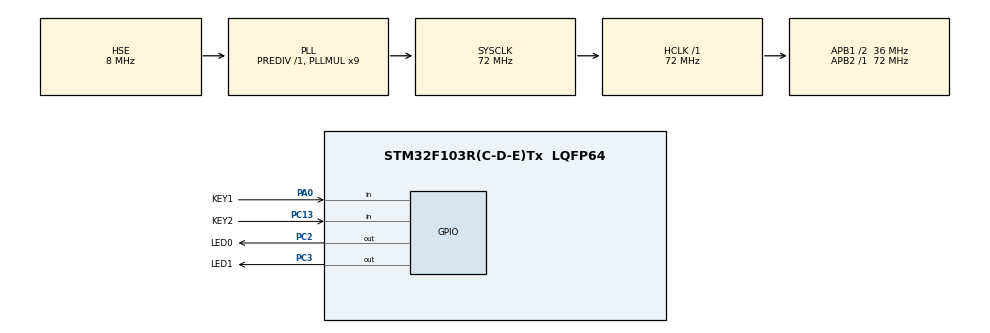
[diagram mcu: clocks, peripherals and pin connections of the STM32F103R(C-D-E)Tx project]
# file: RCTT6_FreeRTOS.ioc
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FREERTOS.Events01=KEYevent,Dynamic,NULL
FREERTOS.Tasks01=led1task,24,128,LED1_TASK,Default,NULL,Dynamic,NULL,NULL;led2task,8,128,LED2_TASK,Default,NULL,Dynamic,NULL,NULL;keytask,8,128,KEY_TASK,Default,NULL,Dynamic,NULL,NULL;flowtask,8,128,FLOW_TASK,Default,NULL,Dynamic,NULL,NULL
Mcu.Family=STM32F1
Mcu.Name=STM32F103R(C-D-E)Tx
Mcu.Package=LQFP64
NVIC.PriorityGroup=NVIC_PRIORITYGROUP_4
NVIC.TIM8_UP_IRQn=true\:15\:0\:false\:false\:true\:false\:false\:true\:true
NVIC.TimeBase=TIM8_UP_IRQn
NVIC.TimeBaseIP=TIM8
PA0-WKUP.GPIO_Label=KEY1
PA0-WKUP.Signal=GPIO_Input
PA13.Mode=Serial_Wire
PA13.Signal=SYS_JTMS-SWDIO
PA14.Mode=Serial_Wire
PA14.Signal=SYS_JTCK-SWCLK
PC13-TAMPER-RTC.GPIO_Label=KEY2
PC13-TAMPER-RTC.Signal=GPIO_Input
PC2.GPIO_Label=LED0
PC2.Signal=GPIO_Output
PC3.GPIO_Label=LED1
PC3.Signal=GPIO_Output
PD0-OSC_IN.Mode=HSE-External-Oscillator
PD0-OSC_IN.Signal=RCC_OSC_IN
PD1-OSC_OUT.Mode=HSE-External-Oscillator
PD1-OSC_OUT.Signal=RCC_OSC_OUT
ProjectManager.HeapSize=0x200
ProjectManager.StackSize=0x400
ProjectManager.TargetToolchain=MDK-ARM V5.32
RCC.AHBFreq_Value=72000000
RCC.APB1CLKDivider=RCC_HCLK_DIV2
RCC.APB1Freq_Value=36000000
RCC.APB1TimFreq_Value=72000000
RCC.APB2Freq_Value=72000000
RCC.APB2TimFreq_Value=72000000
RCC.HCLKFreq_Value=72000000
RCC.PLLMUL=RCC_PLL_MUL9
RCC.PLLSourceVirtual=RCC_PLLSOURCE_HSE
RCC.SYSCLKFreq_VALUE=72000000
RCC.SYSCLKSource=RCC_SYSCLKSOURCE_PLLCLK
RCC.USBFreq_Value=72000000
VP_FREERTOS_VS_CMSIS_V2.Mode=CMSIS_V2
VP_SYS_VS_tim8.Mode=TIM8
board=custom

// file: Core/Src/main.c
/* USER CODE BEGIN Header */
/**
  ******************************************************************************
  * @file           : main.c
  * @brief          : Main program body
  ******************************************************************************
  * @attention
  *
  * Copyright (c) 2025 STMicroelectronics.
  * All rights reserved.
  *
  * This software is licensed under terms that can be found in the LICENSE file
  * in the root directory of this software component.
  * If no LICENSE file comes with this software, it is provided AS-IS.
  *
  ******************************************************************************
  */
/* USER CODE END Header */
#include "main.h"
#include "cmsis_os.h"
#include "gpio.h"

/* USER CODE BEGIN PV */
extern osEventFlagsId_t KEYeventHandle;
/* USER CODE END PV */

void SystemClock_Config(void);
void MX_FREERTOS_Init(void);

int main(void)
{

  /* MCU Configuration--------------------------------------------------------*/

  /* Reset of all peripherals, Initializes the Flash interface and the Systick. */
  HAL_Init();

  /* Configure the system clock */
  SystemClock_Config();

  /* Initialize all configured peripherals */
  MX_GPIO_Init();

  /* Init scheduler */
  osKernelInitialize();

  /* Call init function for freertos objects (in cmsis_os2.c) */
  MX_FREERTOS_Init();

  /* Start scheduler */
  osKernelStart();

  /* We should never get here as control is now taken by the scheduler */

  /* Infinite loop */
  while (1)
  {

  }
}

void SystemClock_Config(void)
{
  RCC_OscInitTypeDef RCC_OscInitStruct = {0};
  RCC_ClkInitTypeDef RCC_ClkInitStruct = {0};

  /** Initializes the RCC Oscillators according to the specified parameters
  * in the RCC_OscInitTypeDef structure.
  */
  RCC_OscInitStruct.OscillatorType = RCC_OSCILLATORTYPE_HSE;
  RCC_OscInitStruct.HSEState = RCC_HSE_ON;
  RCC_OscInitStruct.HSEPredivValue = RCC_HSE_PREDIV_DIV1;
  RCC_OscInitStruct.HSIState = RCC_HSI_ON;
  RCC_OscInitStruct.PLL.PLLState = RCC_PLL_ON;
  RCC_OscInitStruct.PLL.PLLSource = RCC_PLLSOURCE_HSE;
  RCC_OscInitStruct.PLL.PLLMUL = RCC_PLL_MUL9;
  if (HAL_RCC_OscConfig(&RCC_OscInitStruct) != HAL_OK)
  {
    Error_Handler();
  }

  /** Initializes the CPU, AHB and APB buses clocks
  */
  RCC_ClkInitStruct.ClockType = RCC_CLOCKTYPE_HCLK|RCC_CLOCKTYPE_SYSCLK
                              |RCC_CLOCKTYPE_PCLK1|RCC_CLOCKTYPE_PCLK2;
  RCC_ClkInitStruct.SYSCLKSource = RCC_SYSCLKSOURCE_PLLCLK;
  RCC_ClkInitStruct.AHBCLKDivider = RCC_SYSCLK_DIV1;
  RCC_ClkInitStruct.APB1CLKDivider = RCC_HCLK_DIV2;
  RCC_ClkInitStruct.APB2CLKDivider = RCC_HCLK_DIV1;

  if (HAL_RCC_ClockConfig(&RCC_ClkInitStruct, FLASH_LATENCY_2) != HAL_OK)
  {
    Error_Handler();
  }
}

void HAL_TIM_PeriodElapsedCallback(TIM_HandleTypeDef *htim)
{
  if (htim->Instance == TIM8) {
    HAL_IncTick();
  }
}

void Error_Handler(void)
{
  __disable_irq();
  while (1)
  {
  }
}

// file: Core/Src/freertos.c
/* USER CODE BEGIN Header */
/**
  ******************************************************************************
  * File Name          : freertos.c
  * Description        : Code for freertos applications
  ******************************************************************************
  * @attention
  *
  * Copyright (c) 2025 STMicroelectronics.
  * All rights reserved.
  *
  * This software is licensed under terms that can be found in the LICENSE file
  * in the root directory of this software component.
  * If no LICENSE file comes with this software, it is provided AS-IS.
  *
  ******************************************************************************
  */
/* USER CODE END Header */

#include "FreeRTOS.h"
#include "task.h"
#include "main.h"
#include "cmsis_os.h"

/* USER CODE BEGIN Includes */
#include "../../shared/multikey/multikey.h"
/* USER CODE END Includes */

/* Definitions for led1task */
osThreadId_t led1taskHandle;
const osThreadAttr_t led1task_attributes = {
  .name = "led1task",
  .stack_size = 128 * 4,
  .priority = (osPriority_t) osPriorityNormal,
};
/* Definitions for led2task */
osThreadId_t led2taskHandle;
const osThreadAttr_t led2task_attributes = {
  .name = "led2task",
  .stack_size = 128 * 4,
  .priority = (osPriority_t) osPriorityLow,
};
/* Definitions for keytask */
osThreadId_t keytaskHandle;
const osThreadAttr_t keytask_attributes = {
  .name = "keytask",
  .stack_size = 128 * 4,
  .priority = (osPriority_t) osPriorityLow,
};
/* Definitions for flowtask */
osThreadId_t flowtaskHandle;
const osThreadAttr_t flowtask_attributes = {
  .name = "flowtask",
  .stack_size = 128 * 4,
  .priority = (osPriority_t) osPriorityLow,
};
/* Definitions for KEYevent */
osEventFlagsId_t KEYeventHandle;
const osEventFlagsAttr_t KEYevent_attributes = {
  .name = "KEYevent"
};

/* USER CODE BEGIN FunctionPrototypes */
uint8_t Key1_ReadPin(MulitKey_t* key)
{
  return HAL_GPIO_ReadPin(KEY1_GPIO_Port,KEY1_Pin);
}

uint8_t Key2_ReadPin(MulitKey_t* key)
{
  return HAL_GPIO_ReadPin(KEY2_GPIO_Port,KEY2_Pin);
}

void Key1_Press(MulitKey_t* key)
{
  osEventFlagsClear(KEYeventHandle,LED0_BLINK|LED1_BLINK|LED_FLOW);
  osEventFlagsSet(KEYeventHandle,LED0_BLINK);
}

void Key1_LongPress(MulitKey_t* key)
{
  osEventFlagsClear(KEYeventHandle,LED0_BLINK|LED1_BLINK|LED_FLOW);
  osEventFlagsSet(KEYeventHandle,LED_FLOW);
}

void Key2_Press(MulitKey_t* key)
{
  osEventFlagsClear(KEYeventHandle,LED0_BLINK|LED1_BLINK|LED_FLOW);
  osEventFlagsSet(KEYeventHandle,LED1_BLINK);
}
/* USER CODE END FunctionPrototypes */

void LED1_TASK(void *argument);
void LED2_TASK(void *argument);
void KEY_TASK(void *argument);
void FLOW_TASK(void *argument);

void MX_FREERTOS_Init(void); /* (MISRA C 2004 rule 8.1) */

void MX_FREERTOS_Init(void) {

  /* Create the thread(s) */
  /* creation of led1task */
  led1taskHandle = osThreadNew(LED1_TASK, NULL, &led1task_attributes);

  /* creation of led2task */
  led2taskHandle = osThreadNew(LED2_TASK, NULL, &led2task_attributes);

  /* creation of keytask */
  keytaskHandle = osThreadNew(KEY_TASK, NULL, &keytask_attributes);

  /* creation of flowtask */
  flowtaskHandle = osThreadNew(FLOW_TASK, NULL, &flowtask_attributes);

  /* Create the event(s) */
  /* creation of KEYevent */
  KEYeventHandle = osEventFlagsNew(&KEYevent_attributes);

}

void LED1_TASK(void *argument)
{
  /* USER CODE BEGIN LED1_TASK */
  uint32_t flags = 0;
  /* Infinite loop */
  for(;;)
  {
    flags = osEventFlagsWait(KEYeventHandle,LED0_BLINK,osFlagsNoClear,osWaitForever);
    if(flags & LED0_BLINK)
    {
      HAL_GPIO_TogglePin(LED0_GPIO_Port,LED0_Pin);
      osDelay(500);
    }
  }
  /* USER CODE END LED1_TASK */
}

void LED2_TASK(void *argument)
{
  /* USER CODE BEGIN LED2_TASK */
  uint32_t flags = 0;
  /* Infinite loop */
  for(;;)
  {
    flags = osEventFlagsWait(KEYeventHandle,LED1_BLINK,osFlagsNoClear,osWaitForever);
    if(flags & LED1_BLINK)
    {
      HAL_GPIO_TogglePin(LED1_GPIO_Port,LED1_Pin);
      osDelay(500);
    }
  }
  /* USER CODE END LED2_TASK */
}

void KEY_TASK(void *argument)
{
  /* USER CODE BEGIN KEY_TASK */
  MulitKey_t key1,key2;
  MulitKey_Init(&key1,Key1_ReadPin,Key1_Press,Key1_LongPress,RISE_BORDER_TRIGGER);
  MulitKey_Init(&key2,Key2_ReadPin,Key2_Press,Key1_LongPress,RISE_BORDER_TRIGGER);
  /* Infinite loop */
  for(;;)
  {
    MulitKey_Scan(&key1);
    MulitKey_Scan(&key2);
    osDelay(1);
  }
  /* USER CODE END KEY_TASK */
}

void FLOW_TASK(void *argument)
{
  /* USER CODE BEGIN FLOW_TASK */
  uint32_t flag = 0;
  /* Infinite loop */
  for(;;)
  {
    flag = osEventFlagsWait(KEYeventHandle,LED_FLOW,osFlagsNoClear,osWaitForever);
    if (flag & LED_FLOW)
    {
      HAL_GPIO_WritePin(LED0_GPIO_Port,LED0_Pin,GPIO_PIN_SET);
      osDelay(500);
      HAL_GPIO_WritePin(LED0_GPIO_Port,LED0_Pin,GPIO_PIN_RESET);
      HAL_GPIO_WritePin(LED1_GPIO_Port,LED1_Pin,GPIO_PIN_SET);
      osDelay(500);
      HAL_GPIO_WritePin(LED1_GPIO_Port,LED1_Pin,GPIO_PIN_RESET);
    }
  }
  /* USER CODE END FLOW_TASK */
}
